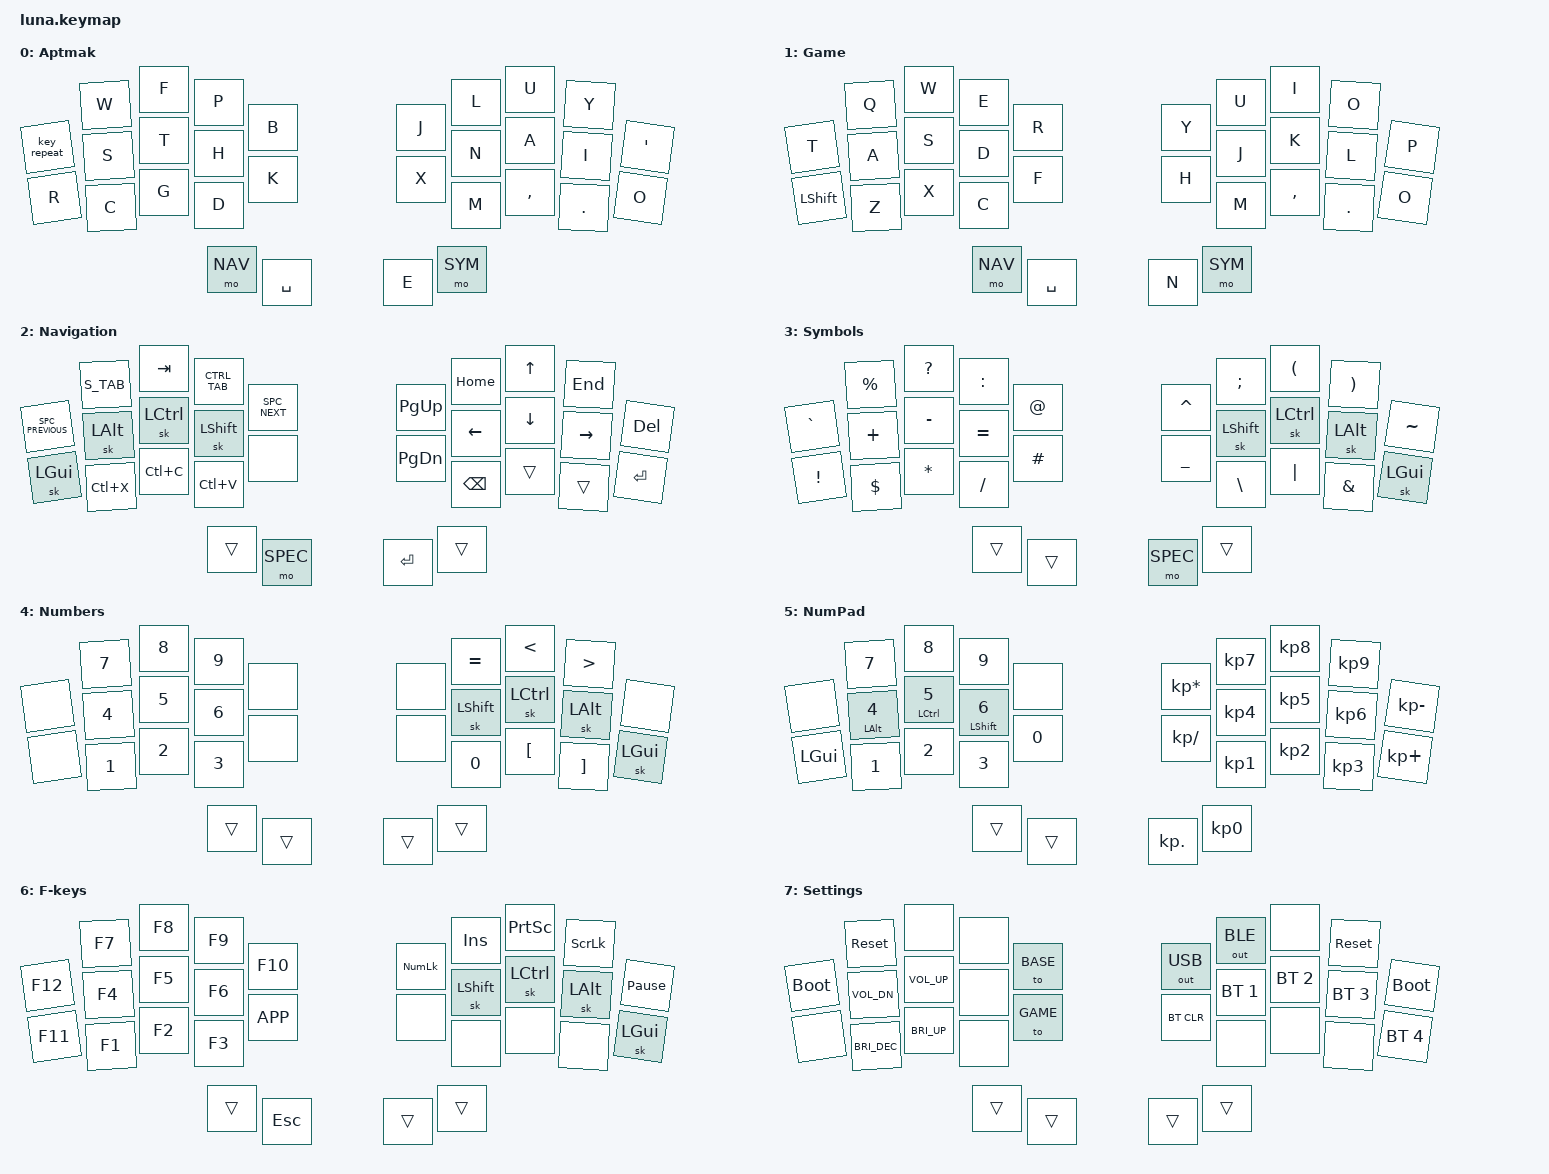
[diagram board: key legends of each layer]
/*
 * Copyright (c) 2020 The ZMK Contributors
 *
 * SPDX-License-Identifier: MIT
 */

#include <behaviors.dtsi>
#include <dt-bindings/zmk/keys.h>
#include <dt-bindings/zmk/bt.h>
#include <dt-bindings/zmk/ext_power.h>
#include <dt-bindings/zmk/outputs.h>

#define BASE  0
#define GAME  1
#define NAV   2
#define SYM   3
#define NUM   4
#define NUMPD 5
#define FUN   6
#define SPEC  7

#define LAUNCHER (LG(TAB))
#define CTRL_TAB (LC(TAB))
#define C_S_TAB (LC(LS(TAB)))
#define SCRNSHOT (LG(LS(S)))

#define SPC_PREVIOUS LC(LG(LEFT))
#define S_PRV SPC_PREVIOUS

#define SPC_NEXT LC(LG(RIGHT))
#define S_NXT SPC_NEXT

&caps_word {
    continue-list = <UNDERSCORE MINUS BACKSPACE>;
};

&sk {
  quick-release;
};

/ {
    conditional_layers {
      compatible = "zmk,conditional-layers";
      tri_layer {
        if-layers = <NAV SYM>;
        then-layer = <NUM>;
      };
    };

    /*                              30 KEY MATRIX / LAYOUT MAPPING

      ╭────────────────────┬────────────────────╮ ╭─────────────────────┬─────────────────────╮
      │  0   1   2   3   4 │  5   6   7   8   9 │ │ LT4 LT3 LT2 LT1 LT0 │ RT0 RT1 RT2 RT3 RT4 │
      │ 10  11  12  13  14 │ 15  16  17  18  19 │ │ LM4 LM3 LM2 LM1 LM0 │ RM0 RM1 RM2 RM3 RM4 │
      │     20  21  22     │     23  24  25     │ │     LB3 LB2 LB1     │     RB1 RB2 RB3     │
      ╰───────────╮ 26  27 │ 28  29 ╭───────────╯ ╰───────────╮ LH1 LH0 │ RH0 RH1 ╭───────────╯
                  ╰────────┴────────╯                         ╰─────────┴─────────╯             */

    #define COMBO(NAME, BINDINGS, KEYPOS, LAYERS, MS) \
      combo_##NAME { \
        bindings = <BINDINGS>; \
        key-positions = <KEYPOS>; \
        layers = <LAYERS>; \
        timeout-ms = <MS>; \
      };

    #define COMBO_TERM_FAST 14
    #define COMBO_TERM_NORMAL 20
    #define COMBO_TERM_SLOW 45

    combos {
      compatible = "zmk,combos";

      COMBO(q, &kp Q, 2 3, BASE NAV SYM, COMBO_TERM_NORMAL)
      COMBO(z, &kp Z, 21 22, BASE NAV SYM, COMBO_TERM_NORMAL)
      COMBO(v, &kp V, 1 2, BASE NAV SYM, COMBO_TERM_NORMAL)
      COMBO(lshift, &sk LSHIFT, 11 12, BASE NAV SYM NUM NUMPD FUN, COMBO_TERM_FAST)
      COMBO(rshift, &sk RSHIFT, 17 18, BASE NAV SYM NUM NUMPD FUN, COMBO_TERM_FAST)
      COMBO(numpad, &mo NUMPD, 26 27, BASE GAME NAV SYM NUM NUMPD FUN, COMBO_TERM_SLOW)
      COMBO(function, &mo FUN, 28 29, BASE GAME NAV SYM NUM NUMPD FUN, COMBO_TERM_SLOW)
      COMBO(backspace, &kp BSPC, 23 24, BASE GAME NAV SYM NUM NUMPD FUN, COMBO_TERM_NORMAL)
      COMBO(del_word, &kp LC(BSPC), 23 25, BASE GAME NAV SYM NUM NUMPD FUN, COMBO_TERM_NORMAL)
      COMBO(enter, &kp RET, 19 25, BASE GAME NAV SYM NUM NUMPD FUN, COMBO_TERM_NORMAL)
      COMBO(escape, &kp ESC, 0 1, BASE GAME NAV SYM NUM NUMPD FUN, COMBO_TERM_NORMAL)
      COMBO(dquote, &kp DQT, 7 8, BASE GAME NAV SYM NUM NUMPD FUN, COMBO_TERM_NORMAL)
      COMBO(delete, &kp DEL, 8 9, BASE GAME NAV SYM NUM NUMPD FUN, COMBO_TERM_NORMAL)
      COMBO(lbkt, &kp LBKT, 1 11, BASE NAV SYM NUM NUMPD FUN, COMBO_TERM_NORMAL)
      COMBO(lpar, &kp LPAR, 2 12, BASE NAV SYM NUM NUMPD FUN, COMBO_TERM_NORMAL)
      COMBO(lbrc, &kp LBRC, 3 13, BASE NAV SYM NUM NUMPD FUN, COMBO_TERM_NORMAL)
      COMBO(labk, &kp LESS_THAN, 4 14, BASE NAV SYM NUM NUMPD FUN, COMBO_TERM_NORMAL)
      COMBO(rabk, &kp GREATER_THAN, 5 15, BASE NAV SYM NUM NUMPD FUN, COMBO_TERM_NORMAL)
      COMBO(rbrc, &kp RBRC, 6 16, BASE NAV SYM NUM NUMPD FUN, COMBO_TERM_NORMAL)
      COMBO(rpar, &kp RPAR, 7 17, BASE NAV SYM NUM NUMPD FUN, COMBO_TERM_NORMAL)
      COMBO(rbkt, &kp RBKT, 8 18, BASE NAV SYM NUM NUMPD FUN, COMBO_TERM_NORMAL)
      COMBO(capslock, &kp CAPS, 1 8, BASE, COMBO_TERM_NORMAL)
      COMBO(capsword, &caps_word, 2 7, BASE, COMBO_TERM_NORMAL)
      COMBO(g_ctrl, &kp LCTL, 0 10, GAME, COMBO_TERM_NORMAL)
      COMBO(g_v, &kp V, 14 22, GAME, COMBO_TERM_NORMAL)
      COMBO(g_g, &kp G, 4 14, GAME, COMBO_TERM_NORMAL)
      COMBO(g_b, &kp B, 10 20, GAME, COMBO_TERM_NORMAL)
    }; 

    keymap {
        compatible = "zmk,keymap";

        base_layer {
            label = "Aptmak";
            bindings = <
                &key_repeat &kp W      &kp F      &kp P      &kp B           &kp J      &kp L       &kp U      &kp Y      &kp SQT
                &kp R       &kp S      &kp T      &kp H      &kp K           &kp X      &kp N       &kp A      &kp I      &kp O
                            &kp C      &kp G      &kp D                                 &kp M       &kp COMMA  &kp DOT
                                                  &mo NAV    &kp SPACE       &kp E      &mo SYM
            >;
        };

        game_layer {
            label = "Game";
            bindings = <
                &kp T       &kp Q      &kp W      &kp E      &kp R           &kp Y      &kp U       &kp I      &kp O      &kp P
                &kp LSHFT   &kp A      &kp S      &kp D      &kp F           &kp H      &kp J       &kp K      &kp L      &kp O
                            &kp Z      &kp X      &kp C                                 &kp M       &kp COMMA  &kp DOT
                                                  &mo NAV    &kp SPACE       &kp N      &mo SYM
            >;
        };

        nav_layer {
            label = "Navigation";
            bindings = <
               &kp S_PRV   &kp C_S_TAB  &kp TAB      &kp CTRL_TAB  &kp S_NXT      &kp PG_UP &kp HOME   &kp UP     &kp END      &kp DEL
               &sk LGUI    &sk LALT     &sk LCTL     &sk LSHFT     &none          &kp PG_DN &kp LEFT   &kp DOWN   &kp RIGHT    &kp RET
                           &kp LC(X)    &kp LC(C)    &kp LC(V)                              &kp BSPC   &trans     &trans
                                                     &trans        &mo SPEC       &kp RET   &trans
            >;
        };

        sym_layer {
            label = "Symbols";
            bindings = <
               &kp GRAVE  &kp PRCNT   &kp QMARK   &kp COLON   &kp AT         &kp CARET   &kp SEMI    &kp LPAR   &kp RPAR   &kp TILDE
               &kp EXCL   &kp PLUS    &kp MINUS   &kp EQUAL   &kp HASH       &kp UNDER   &sk LSHFT   &sk LCTL   &sk LALT   &sk LGUI 
                          &kp DLLR    &kp ASTRK   &kp FSLH                               &kp BSLH    &kp PIPE   &kp AMPS
                                                  &trans      &trans         &mo SPEC    &trans
            >;
        };

        num_layer {
            label = "Numbers";
            bindings = <
                &none   &kp N7  &kp N8  &kp N9  &none         &none   &kp EQUAL  &kp LT    &kp GT    &none
                &none   &kp N4  &kp N5  &kp N6  &none         &none   &sk LSHFT  &sk LCTL  &sk LALT  &sk LGUI
                        &kp N1  &kp N2  &kp N3                        &kp N0     &kp LBKT  &kp RBKT
                                        &trans  &trans        &trans  &trans
            >;
        };

        numpd_layer {
            label = "NumPad";
            bindings = <
                &none     &kp N7      &kp N8      &kp N9       &none         &kp KP_ASTERISK &kp KP_N7   &kp KP_N8   &kp KP_N9   &kp KP_MINUS
                &kp LGUI  &mt LALT N4 &mt LCTL N5 &mt LSHFT N6 &kp N0        &kp KP_SLASH    &kp KP_N4   &kp KP_N5   &kp KP_N6   &kp KP_PLUS
                          &kp N1      &kp N2      &kp N3                                     &kp KP_N1   &kp KP_N2   &kp KP_N3
                                                  &trans       &trans        &kp KP_DOT      &kp KP_N0
            >;
        };

        fun_layer {
            label = "F-keys";
            bindings = <
               &kp F12    &kp F7    &kp F8   &kp F9   &kp F10        &kp KP_NUM  &kp INS     &kp PSCRN  &kp SLCK   &kp PAUSE_BREAK
               &kp F11    &kp F4    &kp F5   &kp F6   &kp K_APP      &none       &sk LSHFT   &sk LCTL   &sk LALT   &sk LGUI
                          &kp F1    &kp F2   &kp F3                              &none       &none      &none
                                             &trans   &kp ESC        &trans      &trans
            >;
        };

       spec_layer {
            label = "Settings";
            bindings = <
               &bootloader &sys_reset    &none        &none   &to BASE    &out OUT_USB &out OUT_BLE &none        &sys_reset   &bootloader
               &none       &kp C_VOL_DN  &kp C_VOL_UP &none   &to GAME    &bt BT_CLR   &bt BT_SEL 1 &bt BT_SEL 2 &bt BT_SEL 3 &bt BT_SEL 4
                           &kp C_BRI_DEC &kp C_BRI_UP &none                            &none        &none        &none
                                                      &trans  &trans      &trans       &trans
            >;
        };
    };
};
